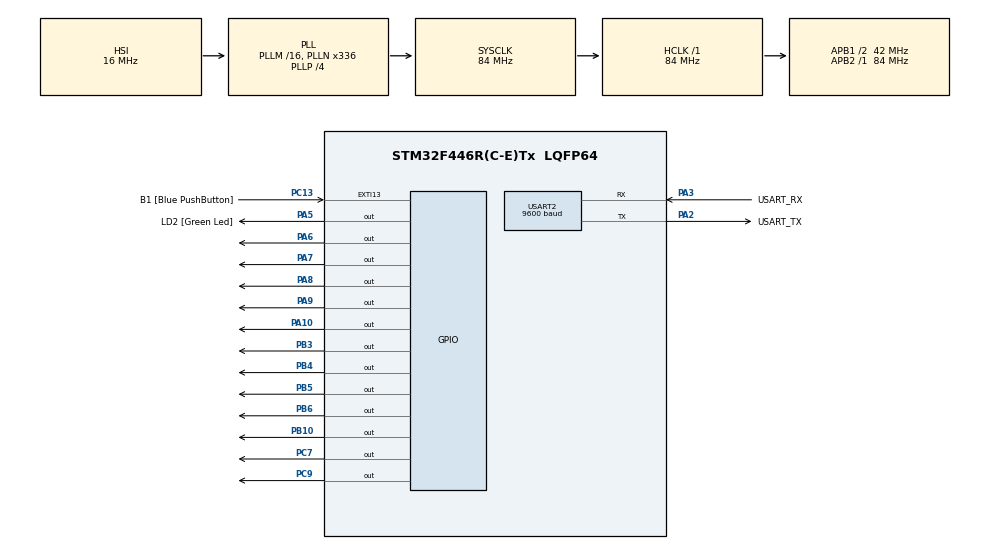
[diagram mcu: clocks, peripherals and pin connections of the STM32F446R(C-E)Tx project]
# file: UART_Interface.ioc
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Mcu.Family=STM32F4
Mcu.Name=STM32F446R(C-E)Tx
Mcu.Package=LQFP64
NVIC.PriorityGroup=NVIC_PRIORITYGROUP_0
NVIC.USART2_IRQn=true\:0\:0\:false\:false\:true\:true\:true\:true
PA10.Signal=GPIO_Output
PA13.GPIO_Label=TMS
PA13.Signal=SYS_JTMS-SWDIO
PA14.GPIO_Label=TCK
PA14.Signal=SYS_JTCK-SWCLK
PA2.GPIO_Label=USART_TX
PA2.Mode=Asynchronous
PA2.Signal=USART2_TX
PA3.GPIO_Label=USART_RX
PA3.Mode=Asynchronous
PA3.Signal=USART2_RX
PA5.GPIO_Label=LD2 [Green Led]
PA5.Signal=GPIO_Output
PA6.Signal=GPIO_Output
PA7.Signal=GPIO_Output
PA8.Signal=GPIO_Output
PA9.Signal=GPIO_Output
PB10.Signal=GPIO_Output
PB3.Signal=GPIO_Output
PB4.Signal=GPIO_Output
PB5.Signal=GPIO_Output
PB6.Signal=GPIO_Output
PC13.GPIO_Label=B1 [Blue PushButton]
PC13.GPIO_ModeDefaultEXTI=GPIO_MODE_IT_FALLING
PC13.Signal=GPXTI13
PC14-OSC32_IN.Signal=RCC_OSC32_IN
PC15-OSC32_OUT.Signal=RCC_OSC32_OUT
PC7.Signal=GPIO_Output
PC9.Signal=GPIO_Output
PH0-OSC_IN.Signal=RCC_OSC_IN
PH1-OSC_OUT.Signal=RCC_OSC_OUT
ProjectManager.HeapSize=0x200
ProjectManager.StackSize=0x400
ProjectManager.TargetToolchain=STM32CubeIDE
RCC.AHBFreq_Value=84000000
RCC.APB1CLKDivider=RCC_HCLK_DIV2
RCC.APB1Freq_Value=42000000
RCC.APB1TimFreq_Value=84000000
RCC.APB2Freq_Value=84000000
RCC.APB2TimFreq_Value=84000000
RCC.CortexFreq_Value=84000000
RCC.FLatency-AdvancedSettings=FLASH_LATENCY_2
RCC.HCLKFreq_Value=84000000
RCC.HSE_VALUE=8000000
RCC.HSI_VALUE=16000000
RCC.LSE_VALUE=32768
RCC.PLLN=336
RCC.PLLP=RCC_PLLP_DIV4
RCC.SYSCLKFreq_VALUE=84000000
RCC.SYSCLKSource=RCC_SYSCLKSOURCE_PLLCLK
RCC.USBFreq_Value=168000000
RCC.VCOOutputFreq_Value=336000000
USART2.BaudRate=9600
USART2.VirtualMode=VM_ASYNC
board=NUCLEO-F446RE

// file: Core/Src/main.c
/* USER CODE BEGIN Header */
/**
  ******************************************************************************
  * @file           : main.c
  * @brief          : Main program body
  ******************************************************************************
  * @attention
  *
  * Copyright (c) 2023 STMicroelectronics.
  * All rights reserved.
  *
  * This software is licensed under terms that can be found in the LICENSE file
  * in the root directory of this software component.
  * If no LICENSE file comes with this software, it is provided AS-IS.
  *
  ******************************************************************************
  */
/* USER CODE END Header */
#include "main.h"

UART_HandleTypeDef huart2;

void SystemClock_Config(void);
static void MX_GPIO_Init(void);
static void MX_USART2_UART_Init(void);

int main(void)
{

  /* MCU Configuration--------------------------------------------------------*/

  /* Reset of all peripherals, Initializes the Flash interface and the Systick. */
  HAL_Init();

  /* Configure the system clock */
  SystemClock_Config();

  /* Initialize all configured peripherals */
  MX_GPIO_Init();
  MX_USART2_UART_Init();

  /* Infinite loop */
  /* USER CODE BEGIN WHILE */
lcd_cmd(0x01);
lcd_display("Phytec Embedded",15);
 while (1)
  {

	 char d1[3]={0};

		  HAL_UART_Receive(&huart2, d1,3,HAL_MAX_DELAY);
		  	 if((d1[0]=='o') && (d1[1]=='n')){
		  		 HAL_GPIO_WritePin(GPIOA,GPIO_PIN_5,1);
		  		 d1[0]=0;
		  		 d1[1]=0;
		  		 lcd_cmd(0x01);
		  		 lcd_display("LED ON",6);
//		  		 HAL_UART_Transmit(&huart2, d1, 3, HAL_MAX_DELAY);
//		  		lcd_cmd(0x01);
//		  		lcd_display(d1,1);

		  	 }
		  	HAL_UART_Receive(&huart2, d1,4,HAL_MAX_DELAY);
		  	 if((d1[0]=='o') && (d1[1]=='f') && (d1[2]=='f'))
		  	 {
		  		 HAL_GPIO_WritePin(GPIOA,GPIO_PIN_5,0);
		  		 		 d1[0]=0;
		  		         d1[1]=0;
		  		         d1[2]=0;
		  		       lcd_cmd(0x01);
        		  	   lcd_display("LED OFF",7);
        		  	   HAL_Delay(1000);

		     }

		  	HAL_UART_Receive(&huart2, d1,4,HAL_MAX_DELAY);
		  	 if((d1[0]=='b') && (d1[1]=='u') && (d1[2]=='z')){
		  		 HAL_GPIO_WritePin(GPIOC,GPIO_PIN_9,1);
		  		 HAL_Delay(500);
		  		HAL_GPIO_WritePin(GPIOC,GPIO_PIN_9,0);
		  		HAL_Delay(500);
 		 		 d1[0]=0;
 		         d1[1]=0;
 		         d1[2]=0;
		  		       lcd_cmd(0x01);
        		  	   lcd_display("BUZZER BEEPS",12);
        		  	   HAL_Delay(1000);
        		  	   lcd_cmd(0x01);
        		  	   lcd_display("THANK YOU",9);
		     }

    /* USER CODE END WHILE */

  }
}

void SystemClock_Config(void)
{
  RCC_OscInitTypeDef RCC_OscInitStruct = {0};
  RCC_ClkInitTypeDef RCC_ClkInitStruct = {0};

  /** Configure the main internal regulator output voltage
  */
  __HAL_RCC_PWR_CLK_ENABLE();
  __HAL_PWR_VOLTAGESCALING_CONFIG(PWR_REGULATOR_VOLTAGE_SCALE3);

  /** Initializes the RCC Oscillators according to the specified parameters
  * in the RCC_OscInitTypeDef structure.
  */
  RCC_OscInitStruct.OscillatorType = RCC_OSCILLATORTYPE_HSI;
  RCC_OscInitStruct.HSIState = RCC_HSI_ON;
  RCC_OscInitStruct.HSICalibrationValue = RCC_HSICALIBRATION_DEFAULT;
  RCC_OscInitStruct.PLL.PLLState = RCC_PLL_ON;
  RCC_OscInitStruct.PLL.PLLSource = RCC_PLLSOURCE_HSI;
  RCC_OscInitStruct.PLL.PLLM = 16;
  RCC_OscInitStruct.PLL.PLLN = 336;
  RCC_OscInitStruct.PLL.PLLP = RCC_PLLP_DIV4;
  RCC_OscInitStruct.PLL.PLLQ = 2;
  RCC_OscInitStruct.PLL.PLLR = 2;
  if (HAL_RCC_OscConfig(&RCC_OscInitStruct) != HAL_OK)
  {
    Error_Handler();
  }

  /** Initializes the CPU, AHB and APB buses clocks
  */
  RCC_ClkInitStruct.ClockType = RCC_CLOCKTYPE_HCLK|RCC_CLOCKTYPE_SYSCLK
                              |RCC_CLOCKTYPE_PCLK1|RCC_CLOCKTYPE_PCLK2;
  RCC_ClkInitStruct.SYSCLKSource = RCC_SYSCLKSOURCE_PLLCLK;
  RCC_ClkInitStruct.AHBCLKDivider = RCC_SYSCLK_DIV1;
  RCC_ClkInitStruct.APB1CLKDivider = RCC_HCLK_DIV2;
  RCC_ClkInitStruct.APB2CLKDivider = RCC_HCLK_DIV1;

  if (HAL_RCC_ClockConfig(&RCC_ClkInitStruct, FLASH_LATENCY_2) != HAL_OK)
  {
    Error_Handler();
  }
}

static void MX_USART2_UART_Init(void)
{

  huart2.Instance = USART2;
  huart2.Init.BaudRate = 9600;
  huart2.Init.WordLength = UART_WORDLENGTH_8B;
  huart2.Init.StopBits = UART_STOPBITS_1;
  huart2.Init.Parity = UART_PARITY_NONE;
  huart2.Init.Mode = UART_MODE_TX_RX;
  huart2.Init.HwFlowCtl = UART_HWCONTROL_NONE;
  huart2.Init.OverSampling = UART_OVERSAMPLING_16;
  if (HAL_UART_Init(&huart2) != HAL_OK)
  {
    Error_Handler();
  }

}

static void MX_GPIO_Init(void)
{
  GPIO_InitTypeDef GPIO_InitStruct = {0};

  /* GPIO Ports Clock Enable */
  __HAL_RCC_GPIOC_CLK_ENABLE();
  __HAL_RCC_GPIOH_CLK_ENABLE();
  __HAL_RCC_GPIOA_CLK_ENABLE();
  __HAL_RCC_GPIOB_CLK_ENABLE();

  /*Configure GPIO pin Output Level */
  HAL_GPIO_WritePin(GPIOA, LD2_Pin|GPIO_PIN_6|GPIO_PIN_7|GPIO_PIN_8
                          |GPIO_PIN_9|GPIO_PIN_10, GPIO_PIN_RESET);

  /*Configure GPIO pin Output Level */
  HAL_GPIO_WritePin(GPIOB, GPIO_PIN_10|GPIO_PIN_3|GPIO_PIN_4|GPIO_PIN_5
                          |GPIO_PIN_6, GPIO_PIN_RESET);

  /*Configure GPIO pin Output Level */
  HAL_GPIO_WritePin(GPIOC, GPIO_PIN_7|GPIO_PIN_9, GPIO_PIN_RESET);

  /*Configure GPIO pin : B1_Pin */
  GPIO_InitStruct.Pin = B1_Pin;
  GPIO_InitStruct.Mode = GPIO_MODE_IT_FALLING;
  GPIO_InitStruct.Pull = GPIO_NOPULL;
  HAL_GPIO_Init(B1_GPIO_Port, &GPIO_InitStruct);

  /*Configure GPIO pins : LD2_Pin PA6 PA7 PA8
                           PA9 PA10 */
  GPIO_InitStruct.Pin = LD2_Pin|GPIO_PIN_6|GPIO_PIN_7|GPIO_PIN_8
                          |GPIO_PIN_9|GPIO_PIN_10;
  GPIO_InitStruct.Mode = GPIO_MODE_OUTPUT_PP;
  GPIO_InitStruct.Pull = GPIO_NOPULL;
  GPIO_InitStruct.Speed = GPIO_SPEED_FREQ_LOW;
  HAL_GPIO_Init(GPIOA, &GPIO_InitStruct);

  /*Configure GPIO pins : PB10 PB3 PB4 PB5
                           PB6 */
  GPIO_InitStruct.Pin = GPIO_PIN_10|GPIO_PIN_3|GPIO_PIN_4|GPIO_PIN_5
                          |GPIO_PIN_6;
  GPIO_InitStruct.Mode = GPIO_MODE_OUTPUT_PP;
  GPIO_InitStruct.Pull = GPIO_NOPULL;
  GPIO_InitStruct.Speed = GPIO_SPEED_FREQ_LOW;
  HAL_GPIO_Init(GPIOB, &GPIO_InitStruct);

  /*Configure GPIO pins : PC7 PC9 */
  GPIO_InitStruct.Pin = GPIO_PIN_7|GPIO_PIN_9;
  GPIO_InitStruct.Mode = GPIO_MODE_OUTPUT_PP;
  GPIO_InitStruct.Pull = GPIO_NOPULL;
  GPIO_InitStruct.Speed = GPIO_SPEED_FREQ_LOW;
  HAL_GPIO_Init(GPIOC, &GPIO_InitStruct);

}

void Error_Handler(void)
{
  __disable_irq();
  while (1)
  {
  }
}
